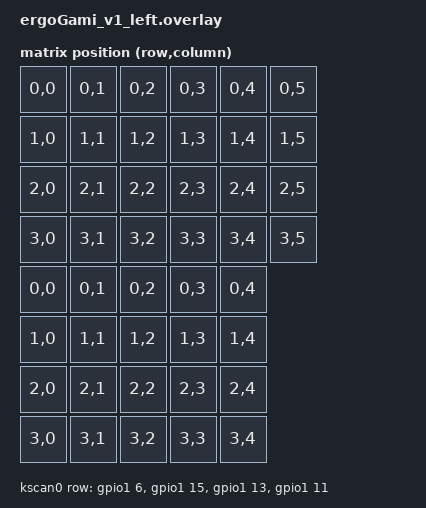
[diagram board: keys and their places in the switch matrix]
// Devicetree file
#include <dt-bindings/zmk/matrix_transform.h>

/ {
    chosen {
        zmk,kscan = &kscan0;
        zmk,matrix_transform = &default_transform;
        zmk,display = &nice_view;
    };

    // Keyboard matrix (6x4 left, 5x4 right)
    default_transform: keymap_transform_0 {
        compatible = "zmk,matrix-transform";
        columns = <6>;  // Left half: 6 cols
        rows = <4>;     // All rows
        map = <
            // Left half (18 keys)
            RC(0,0) RC(0,1) RC(0,2) RC(0,3) RC(0,4) RC(0,5)
            RC(1,0) RC(1,1) RC(1,2) RC(1,3) RC(1,4) RC(1,5)
            RC(2,0) RC(2,1) RC(2,2) RC(2,3) RC(2,4) RC(2,5)
            RC(3,0) RC(3,1) RC(3,2) RC(3,3) RC(3,4) RC(3,5)

            // Right half (17 keys - omit last column)
            RC(0,0) RC(0,1) RC(0,2) RC(0,3) RC(0,4)
            RC(1,0) RC(1,1) RC(1,2) RC(1,3) RC(1,4)
            RC(2,0) RC(2,1) RC(2,2) RC(2,3) RC(2,4)
            RC(3,0) RC(3,1) RC(3,2) RC(3,3) RC(3,4)
        >;
    };

    kscan0: kscan {
        compatible = "zmk,kscan-gpio-matrix";
        diode-direction = "col2row";
        row-gpios = <
            &gpio1 6  (GPIO_ACTIVE_HIGH | GPIO_PULL_DOWN)  // Row 0 (P1.06)
            &gpio1 15 (GPIO_ACTIVE_HIGH | GPIO_PULL_DOWN)  // Row 1 (P1.15)
            &gpio1 13 (GPIO_ACTIVE_HIGH | GPIO_PULL_DOWN)  // Row 2 (P1.13)
            &gpio1 11 (GPIO_ACTIVE_HIGH | GPIO_PULL_DOWN)  // Row 3 (P1.11)
        >;
    };

    &spi0 {
        status = "okay";
        sck-pin = <17>;    // SCK on P0.17
        mosi-pin = <20>;   // MOSI on P0.20
        cs-gpios = <&gpio0 6 GPIO_ACTIVE_LOW>;  // CS on P0.06

        nice_view: nice_view@0 {
            compatible = "nice,nice_view";
            reg = <0>;
            label = "NICE_VIEW";
            width = <128>;
            height = <32>;
            spi-max-frequency = <4000000>;  // 4MHz
        };
    };

        nice_view_behavior: behavior_nice_view {
            compatible = "zmk,behavior-nice-view";
            #binding-cells = <0>;
            display = <&nice_view>;
            widgets = <
                &layer_status
                &battery_status
                &output_status
            >;
        };
};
